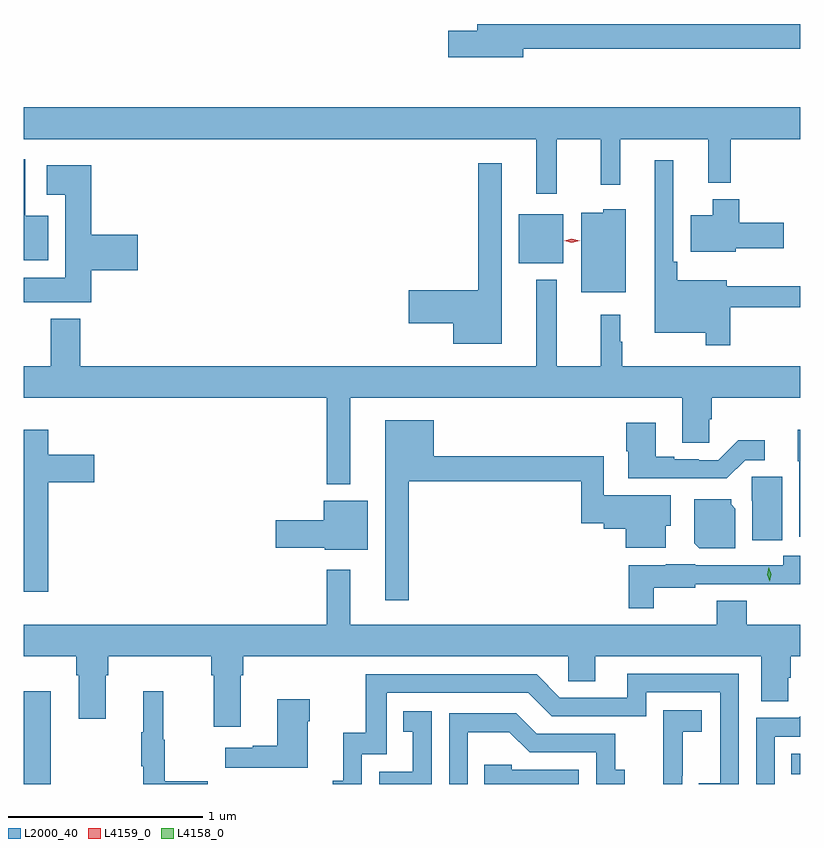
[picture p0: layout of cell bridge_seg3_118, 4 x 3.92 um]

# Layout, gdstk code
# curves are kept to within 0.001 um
import gdstk
lib = gdstk.Library(unit=1e-6, precision=1e-09)
def R(c, l, rs):  # rectangles x0, y0, x1, y1
    for r in rs: c.add(gdstk.rectangle(r[:2], r[2:], *l))
def P(c, l, *ps):  # polygons
    for p in ps: c.add(gdstk.Polygon(p, *l))
L2000_40 = (2000, 40)
L4158_0 = (4158, 0)
L4159_0 = (4159, 0)

bridge_seg3_118 = lib.new_cell('bridge_seg3_118')
R(bridge_seg3_118, L2000_40, [(336.088,725.567,336.226,726.046), (340.042,725.618,340.088,725.722), (338.639,728.249,338.866,728.503)])
P(bridge_seg3_118, L2000_40, [(338.662,729.354),(340.088,729.354),(340.088,729.482),(338.423,729.482),(338.423,729.446),(338.274,729.446),(338.274,729.311),(338.662,729.311)],
  [(338.833,728.888),(339.061,728.888),(339.061,728.655),(339.161,728.655),(339.161,728.888),(339.614,728.888),(339.614,728.663),(339.731,728.663),(339.731,728.888),(340.088,728.888),(340.088,729.052),(336.088,729.052),(336.088,728.888),(338.729,728.888),(338.729,728.607),(338.833,728.607)],
  [(336.214,728.494),(336.097,728.494),(336.097,728.785),(336.088,728.785),(336.088,728.264),(336.214,728.264)],
  [(339.728,728.022),(340.088,728.022),(340.088,728.132),(339.709,728.132),(339.709,728.161),(339.455,728.161),(339.455,728.257),(339.435,728.257),(339.435,728.779),(339.338,728.779),(339.338,727.892),(339.6,727.892),(339.6,727.827),(339.728,727.827)],
  [(338.551,728.764),(338.43,728.764),(338.43,728.111),(338.07,728.111),(338.07,727.94),(338.3,727.94),(338.3,727.835),(338.551,727.835)],
  [(336.437,728.213),(336.676,728.213),(336.676,728.396),(336.437,728.396),(336.437,728.755),(336.207,728.755),(336.207,728.603),(336.302,728.603),(336.302,728.176),(336.088,728.176),(336.088,728.048),(336.437,728.048)],
  [(339.756,728.327),(340.003,728.327),(340.003,728.457),(339.773,728.457),(339.773,728.578),(339.638,728.578),(339.638,728.497),(339.524,728.497),(339.524,728.309),(339.756,728.309)],
  [(339.19,728.527),(339.072,728.527),(339.072,728.509),(338.96,728.509),(338.96,728.099),(339.19,728.099)],
  [(337.771,727.556),(339.479,727.556),(339.479,727.324),(339.618,727.324),(339.618,727.446),(339.632,727.446),(339.632,727.556),(340.088,727.556),(340.088,727.72),(339.172,727.72),(339.172,727.844),(339.16,727.844),(339.16,727.984),(339.061,727.984),(339.061,727.72),(338.833,727.72),(338.833,728.164),(338.729,728.164),(338.729,727.72),(336.38,727.72),(336.38,727.963),(336.227,727.963),(336.227,727.72),(336.088,727.72),(336.088,727.556),(337.65,727.556),(337.65,727.112),(337.771,727.112)],
  [(338.071,727.126),(338.959,727.126),(338.959,726.911),(339.077,726.911),(339.077,726.881),(339.188,726.881),(339.188,726.785),(339.394,726.785),(339.394,726.897),(339.421,726.897),(339.421,727.054),(339.075,727.054),(339.075,727.255),(338.2,727.255),(338.2,727.441),(337.949,727.441),(337.949,726.513),(338.071,726.513)],
  [(339.804,727.236),(339.904,727.236),(339.904,727.339),(339.769,727.339),(339.666,727.236),(339.566,727.236),(339.566,727.239),(339.439,727.239),(339.439,727.252),(339.343,727.252),(339.343,727.429),(339.191,727.429),(339.191,727.281),(339.203,727.281),(339.203,727.143),(339.71,727.142)],
  [(336.215,727.121),(336.451,727.121),(336.451,727.263),(336.215,727.263),(336.215,727.393),(336.088,727.393),(336.088,726.558),(336.215,726.558)],
  [(340.088,727.393),(340.076,727.393),(340.076,727.23),(340.082,727.23),(340.082,726.84),(340.088,726.84)],
  [(339.994,727.149),(339.838,727.149),(339.838,727.026),(339.842,727.026),(339.842,726.823),(339.994,726.823)],
  [(339.754,726.986),(339.732,727.008),(339.732,727.033),(339.542,727.033),(339.542,726.808),(339.568,726.782),(339.754,726.782)],
  [(337.861,727.027),(337.634,727.027),(337.634,726.926),(337.386,726.926),(337.386,726.784),(337.638,726.784),(337.638,726.773),(337.861,726.773)],
  [(339.334,726.578),(339.546,726.578),(339.546,726.597),(340.063,726.597),(340.063,726.596),(340.088,726.596),(340.088,726.742),(340.001,726.742),(340.001,726.693),(339.546,726.693),(339.546,726.7),(339.396,726.7),(339.396,726.694),(339.205,726.694),(339.205,726.473),(339.334,726.473)],
  [(337.207,726.128),(337.22,726.128),(337.22,726.224),(338.892,726.224),(338.892,726.097),(339.031,726.097),(339.031,726.224),(339.887,726.224),(339.887,725.992),(340.026,725.992),(340.026,726.115),(340.04,726.115),(340.04,726.224),(340.088,726.224),(340.088,726.388),(339.813,726.388),(339.813,726.512),(339.658,726.512),(339.658,726.388),(337.771,726.388),(337.771,726.67),(337.65,726.67),(337.65,726.388),(336.088,726.388),(336.088,726.224),(336.359,726.224),(336.359,726.128),(336.371,726.128),(336.371,725.904),(336.511,725.904),(336.511,726.128),(336.524,726.128),(336.524,726.224),(337.055,726.224),(337.055,726.128),(337.067,726.128),(337.067,725.862),(337.207,725.862)],
  [(337.83,725.721),(337.959,725.721),(337.959,726.036),(338.688,726.036),(338.808,725.916),(339.294,725.916),(339.294,726.039),(339.675,726.039),(339.675,725.57),(339.565,725.57),(339.565,725.567),(339.771,725.567),(339.771,726.135),(339.197,726.135),(339.197,726.012),(338.85,726.012),(338.73,726.132),(337.851,726.132),(337.851,725.83),(337.733,725.83),(337.733,725.583),(337.68,725.583),(337.68,725.567),(337.83,725.567)],
  [(337.037,725.582),(336.814,725.582),(336.814,725.796),(336.806,725.796),(336.806,726.046),(336.704,726.046),(336.704,725.833),(336.693,725.833),(336.693,725.659),(336.704,725.659),(336.704,725.567),(337.037,725.567)],
  [(337.552,725.891),(337.56,725.891),(337.56,726.004),(337.394,726.004),(337.394,725.765),(337.268,725.765),(337.268,725.755),(337.125,725.755),(337.125,725.651),(337.552,725.651)],
  [(339.48,725.609),(339.482,725.609),(339.482,725.837),(339.58,725.837),(339.58,725.947),(339.382,725.947),(339.382,725.741),(339.383,725.741),(339.383,725.567),(339.48,725.567)],
  [(338.19,725.941),(338.044,725.941),(338.044,725.835),(338.093,725.835),(338.093,725.631),(337.92,725.631),(337.92,725.567),(338.19,725.567)],
  [(338.376,725.834),(338.59,725.834),(338.694,725.73),(339.036,725.73),(339.036,725.567),(339.184,725.567),(339.184,725.641),(339.135,725.641),(339.135,725.826),(338.731,725.826),(338.626,725.931),(338.28,725.931),(338.28,725.567),(338.376,725.567)],
  [(339.957,725.811),(340.088,725.811),(340.088,725.915),(340.08,725.907),(339.861,725.907),(339.861,725.567),(339.957,725.567)],
  [(338.946,725.64),(338.601,725.64),(338.601,725.667),(338.461,725.667),(338.461,725.567),(338.946,725.567)])
P(bridge_seg3_118, L4158_0, [(339.93,726.611),(339.93,726.611),(339.918,726.646),(339.926,726.683),(339.926,726.683),(339.927,726.683),(339.938,726.647),(339.93,726.611)])
P(bridge_seg3_118, L4159_0, [(338.912,728.356),(338.872,728.366),(338.871,728.366),(338.872,728.366),(338.912,728.376),(338.953,728.366),(338.953,728.366),(338.953,728.366)])

lib.write_gds('bridge_seg3_118.gds')
